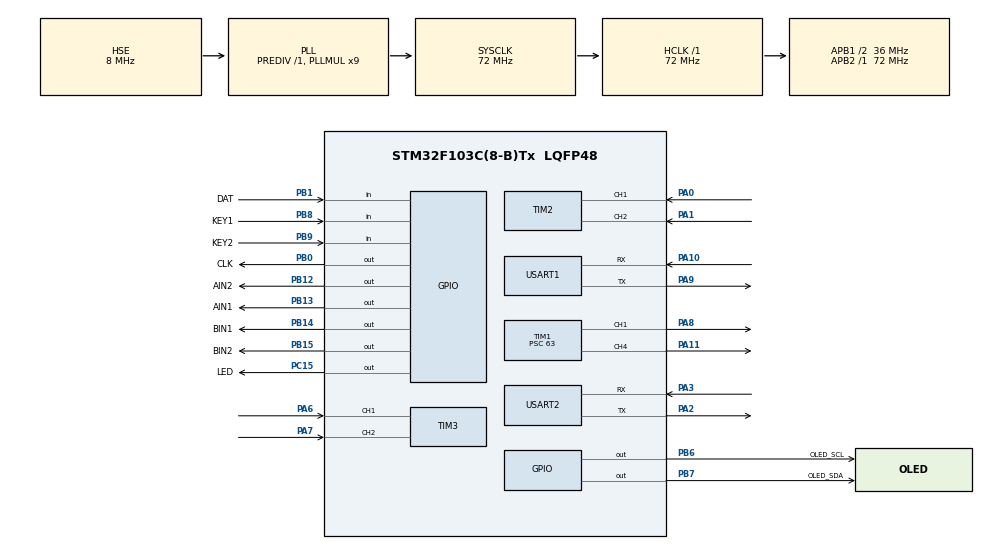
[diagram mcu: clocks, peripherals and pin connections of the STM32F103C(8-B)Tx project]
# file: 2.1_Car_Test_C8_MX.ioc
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Mcu.Family=STM32F1
Mcu.Name=STM32F103C(8-B)Tx
Mcu.Package=LQFP48
NVIC.PriorityGroup=NVIC_PRIORITYGROUP_4
NVIC.TIM4_IRQn=true\:0\:0\:false\:false\:true\:true\:true\:true
NVIC.USART2_IRQn=true\:0\:0\:false\:false\:true\:true\:true\:true
PA0-WKUP.Signal=S_TIM2_CH1_ETR
PA1.Signal=S_TIM2_CH2
PA10.Mode=Asynchronous
PA10.Signal=USART1_RX
PA11.Signal=S_TIM1_CH4
PA13.Mode=Serial_Wire
PA13.Signal=SYS_JTMS-SWDIO
PA14.Mode=Serial_Wire
PA14.Signal=SYS_JTCK-SWCLK
PA2.Mode=Asynchronous
PA2.Signal=USART2_TX
PA3.Mode=Asynchronous
PA3.Signal=USART2_RX
PA6.Signal=S_TIM3_CH1
PA7.Signal=S_TIM3_CH2
PA8.Signal=S_TIM1_CH1
PA9.Mode=Asynchronous
PA9.Signal=USART1_TX
PB0.GPIO_Label=CLK
PB0.GPIO_Speed=GPIO_SPEED_FREQ_HIGH
PB0.Signal=GPIO_Output
PB1.GPIO_Label=DAT
PB1.Signal=GPIO_Input
PB12.GPIO_Label=AIN2
PB12.Signal=GPIO_Output
PB13.GPIO_Label=AIN1
PB13.Signal=GPIO_Output
PB14.GPIO_Label=BIN1
PB14.Signal=GPIO_Output
PB15.GPIO_Label=BIN2
PB15.Signal=GPIO_Output
PB6.GPIO_Label=OLED_SCL
PB6.Signal=GPIO_Output
PB7.GPIO_Label=OLED_SDA
PB7.Signal=GPIO_Output
PB8.GPIO_Label=KEY1
PB8.GPIO_PuPd=GPIO_PULLUP
PB8.Signal=GPIO_Input
PB9.GPIO_Label=KEY2
PB9.GPIO_PuPd=GPIO_PULLUP
PB9.Signal=GPIO_Input
PC15-OSC32_OUT.GPIO_Label=LED
PC15-OSC32_OUT.Signal=GPIO_Output
PD0-OSC_IN.Mode=HSE-External-Oscillator
PD0-OSC_IN.Signal=RCC_OSC_IN
PD1-OSC_OUT.Mode=HSE-External-Oscillator
PD1-OSC_OUT.Signal=RCC_OSC_OUT
ProjectManager.HeapSize=0x200
ProjectManager.StackSize=0x400
ProjectManager.TargetToolchain=CMake
RCC.AHBFreq_Value=72000000
RCC.APB1CLKDivider=RCC_HCLK_DIV2
RCC.APB1Freq_Value=36000000
RCC.APB1TimFreq_Value=72000000
RCC.APB2Freq_Value=72000000
RCC.APB2TimFreq_Value=72000000
RCC.HCLKFreq_Value=72000000
RCC.PLLMUL=RCC_PLL_MUL9
RCC.PLLSourceVirtual=RCC_PLLSOURCE_HSE
RCC.SYSCLKFreq_VALUE=72000000
RCC.SYSCLKSource=RCC_SYSCLKSOURCE_PLLCLK
RCC.USBFreq_Value=72000000
SH.S_TIM1_CH1.0=TIM1_CH1,PWM Generation1 CH1
SH.S_TIM1_CH4.0=TIM1_CH4,PWM Generation4 CH4
SH.S_TIM2_CH1_ETR.0=TIM2_CH1,Encoder_Interface
SH.S_TIM2_CH2.0=TIM2_CH2,Encoder_Interface
SH.S_TIM3_CH1.0=TIM3_CH1,Encoder_Interface
SH.S_TIM3_CH2.0=TIM3_CH2,Encoder_Interface
TIM1.Channel-PWM\ Generation1\ CH1=TIM_CHANNEL_1
TIM1.Channel-PWM\ Generation4\ CH4=TIM_CHANNEL_4
TIM1.Period=99
TIM1.Prescaler=63
TIM2.EncoderMode=TIM_ENCODERMODE_TI12
TIM3.EncoderMode=TIM_ENCODERMODE_TI12
TIM4.Period=99
TIM4.Prescaler=6399
USART1.Parity=PARITY_NONE
USART1.VirtualMode=VM_ASYNC
USART2.VirtualMode=VM_ASYNC
VP_TIM4_VS_ClockSourceINT.Mode=Internal
board=custom

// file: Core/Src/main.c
/* USER CODE BEGIN Header */
/**
  ******************************************************************************
  * @file           : main.c
  * @brief          : Main program body
  ******************************************************************************
  * @attention
  *
  * Copyright (c) 2026 STMicroelectronics.
  * All rights reserved.
  *
  * This software is licensed under terms that can be found in the LICENSE file
  * in the root directory of this software component.
  * If no LICENSE file comes with this software, it is provided AS-IS.
  *
  ******************************************************************************
  */
/* USER CODE END Header */
#include "main.h"
#include "tim.h"
#include "usart.h"
#include "gpio.h"

/* USER CODE BEGIN Includes */
#include <stdio.h>
#include <string.h>
#include "OLED.h"
#include "motor.h"
#include "track.h"
#include "car_control.h"
#include "buzzer.h"
#include "log.h"
#include "app_log.h"
#include "app_params.h"
#include "app_console.h"
#include "config.h"   /* 所有可调参数与结构常量 */
#include "FreeRTOS.h"
#include "task.h"
/* USER CODE END Includes */

/* USER CODE BEGIN PTD */
/* TIM4 中断里填、主循环里读的一份快照（OLED 和串口遥测共用）。 */
typedef struct {
    CarStatus status;
    uint8_t gray;
    int32_t left_ticks;
    int32_t right_ticks;
    int16_t error_x10;
    uint8_t left_pwm;
    uint8_t right_pwm;
    float ramp_speed;
    float left_target;
    float right_target;
    uint32_t lost_frames;
    int16_t cross_count;         /* 压线计数：上电 -1，每次压线 +1 */
    uint16_t key2_presses;       /* KEY2 有效按下次数，用来切 mode */
} DisplaySnapshot;

/*
 * 视觉板（MaixPy）从 USART1 发来的一行，两种格式：
 *   <标签>\n                         例如：STOP
 *   <标签>,<置信度>,<x>,<y>,<w>,<h>\n 例如：NONE,0.00,0,0,0,0
 * 上电时还会先发一行 "Hello MaixPy"。
 * 置信度按 ×100 存成整数（0.95 → 95），避免在中断里碰浮点。
 */
typedef struct {
    char label[10];          /* 标签，和 OLED 上显示的一致 */
    int32_t score_x100;      /* 置信度 ×100 */
    int16_t x;
    int16_t y;
    int16_t w;
    int16_t h;
    bool valid;              /* false = 收到 NONE */
    uint32_t frames;         /* 收到并解析成功的行数 */
} VisionFrame;
/* USER CODE END PTD */

/* USER CODE BEGIN PD */

/*
 * 2.0 的整车参数（起步斜坡、循迹 PID、轮速环、前馈）都是按这两个时间尺度标定的：
 *   PWM 载波 10 kHz，控制环 100 Hz。
 * 2.1 的主频从 64 MHz（HSI/2 × 16）换成了 72 MHz（HSE × 9），而 .ioc 里的
 * 预分频还是 2.0 那组数（TIM1=63、TIM4=6399），直接跑会变成 11.25 kHz / 112.5 Hz。
 * Timers_Match20Timing() 按实际主频重算 PSC，把时间尺度拉回 2.0。
 */
#define CAR_PWM_TICK_HZ    1000000U   /* TIM1 计数时钟，ARR=99 → 10 kHz PWM */
#define CAR_CTRL_TICK_HZ     10000U   /* TIM4 计数时钟，ARR=99 → 100 Hz 控制环 */

/* USER CODE END PD */

/* USER CODE BEGIN PV */
static CarControl car;
static volatile DisplaySnapshot telemetry;
static uint8_t rx_byte;              /* USART1：视觉模块 */
static char rx_line[CAR_VISION_LINE_MAX];   /* 中断里正在收的一行 */
static uint8_t rx_line_len;
static char rx_ready[CAR_VISION_LINE_MAX];  /* 收满一行，交给主循环解析 */
static volatile bool rx_ready_flag;
static bool rx_discard;
static volatile char card_name[10];
static VisionFrame vision;           /* 解析后的视觉帧 */
static uint32_t last_telemetry_ms;
static uint32_t last_params_ms;
static CarStatus logged_status;
static bool logged_backing;          /* 倒转阶段开始/结束的日志边沿检测 */
static bool self_test_ok;
static bool s_log_enabled = true;
/* 工作模式：1..4 循环，每次按 KEY2 加 1，到 5 时回 1 */
static volatile uint8_t mode = 1;
static uint16_t last_key2_presses;
/* 目标压线次数（cross_count 达到它就停车）：mode1 固定 1，mode2 从卡片取 */
static volatile int16_t cross_target;
static volatile bool cross_target_valid;
static bool cross_done;              /* 已经因为到达目标停过车 */
static CarStatus prev_status;

/* ---- mode 3：视觉卡片识别 ------------------------------------------------
 * detect = 1 时，每收到一个非 NONE 的标签就按顺序存进 card1..card6；
 * 卡名最后一个字母（花色）是 S/C 就立刻停车、蜂鸣 1 s，2 s 后自动起步。
 */
static uint8_t detect = 1;                           /* 1 = 允许记录卡片 */
static uint8_t detect_number = 0;                    /* 已经记了几张（0..6） */
static const uint32_t wait_time = CAR_CARD_WAIT_MS;  /* 记完一张后的检测冷却 ms */
static char card1[CAR_CARD_TEXT_MAX];
static char card2[CAR_CARD_TEXT_MAX];
static char card3[CAR_CARD_TEXT_MAX];
static char card4[CAR_CARD_TEXT_MAX];
static char card5[CAR_CARD_TEXT_MAX];
static char card6[CAR_CARD_TEXT_MAX];
static char card7[CAR_CARD_TEXT_MAX];
static char card8[CAR_CARD_TEXT_MAX];
static char card9[CAR_CARD_TEXT_MAX];
static char card10[CAR_CARD_TEXT_MAX];
static char card11[CAR_CARD_TEXT_MAX];
static char card12[CAR_CARD_TEXT_MAX];
/* detect_number 从 0 开始，所以 card(detect_number + 1) == cards[detect_number] */
static char *const cards[CAR_CARD_SLOTS] = {
    card1, card2, card3, card4, card5, card6
};
/* mode 4 用 1..12 号槽，编号规则同上 */
static char *const match_cards[CAR_MATCH_SLOTS] = {
    card1, card2, card3, card4, card5, card6,
    card7, card8, card9, card10, card11, card12
};

/* ---- mode 4：视觉卡片匹配 ------------------------------------------------
 * 前 6 张（card1..card6）算出 target_card1..3（6 选 3 求和的过半组），
 * 之后每张卡和 target 比数字部分：命中就停车，并把序号最小的命中目标清零。
 */
static int16_t target_card1;
static int16_t target_card2;
static int16_t target_card3;
static bool match_restart_pending;   /* 命中后停车中，到点自动起步 */
static uint32_t match_restart_ms;
static uint8_t match_hit_index;      /* 命中的 target 序号 1..3，0 = 无 */
static bool detect_waiting;          /* detect 已清 0，等冷却结束再置 1 */
static uint32_t detect_resume_ms;
static bool card_restart_pending;    /* S/C 卡停车中，到点自动起步 */
static uint32_t card_restart_ms;
static bool buzzer_active;           /* 蜂鸣器正在响（1 s 后自己关） */
static uint32_t buzzer_off_ms;
static bool cards_view;              /* OLED 正在显示卡片网格 */
static bool cards_latched;           /* mode 3 压过线后锁住卡片页，直到切模式 */

#define APPLICATION_TASK_STACK_WORDS 768U
#define DISPLAY_TASK_STACK_WORDS     512U

static StaticTask_t application_task_tcb;
static StaticTask_t display_task_tcb;
static StackType_t application_task_stack[APPLICATION_TASK_STACK_WORDS];
static StackType_t display_task_stack[DISPLAY_TASK_STACK_WORDS];
static StaticTask_t idle_task_tcb;
static StackType_t idle_task_stack[configMINIMAL_STACK_SIZE];

/* USER CODE END PV */

void SystemClock_Config(void);
/* USER CODE BEGIN PFP */
static const char *StatusName(CarStatus status);
static const char *TrackStateName(TrackState state);
static void ShowRow(uint8_t row, char text[32]);
static void RefreshDisplay(void);
static void PrintTelemetry(void);
static void SelfTest_Run(void);
static void LogInitLine(const char *name, bool ok, const char *detail);
static void Vision_Poll(void);
static void PrintVofaFrame(void);
static int16_t CardNumber(const volatile char *name);
static void ApplyMode(uint8_t m);
static void CardMatch_Reset(void);
static void CardMatch_Poll(void);
static void Timers_Match20Timing(void);
static void ApplicationTask(void *argument);
static void DisplayTask(void *argument);
/* USER CODE END PFP */

/* USER CODE BEGIN 0 */
static const char *StatusName(CarStatus status)
{
    switch (status) {
    case CAR_READY:            return "READY";
    case CAR_RUNNING:          return "RUN";
    case CAR_NO_LINE:          return "NO LINE";
    case CAR_BAD_LINE:         return "BAD LINE";
    case CAR_LEFT_REVERSE:     return "LEFT REV";
    case CAR_RIGHT_REVERSE:    return "RIGHT REV";
    case CAR_LEFT_NO_ENCODER:  return "LEFT NO ENC";
    case CAR_RIGHT_NO_ENCODER: return "RIGHT NO ENC";
    case CAR_BENCH:            return "BENCH";
    case CAR_SEARCH:           return "SEARCH";
    default:                   return "?";
    }
}

static const char *TrackStateName(TrackState state)
{
    switch (state) {
    case TRACK_LINE:      return "LINE";
    case TRACK_LOST:      return "LOST";
    case TRACK_AMBIGUOUS: return "AMBIG";
    default:              return "?";
    }
}

static void LogInitLine(const char *name, bool ok, const char *detail)
{
    if (ok) {
        log_info("[INIT] %-26s OK   %s", name, detail ? detail : "");
    } else {
        log_error("[INIT] %-26s FAIL %s", name, detail ? detail : "");
    }
}

static void ShowRow(uint8_t row, char text[32])
{
    size_t length = 0;
    while (text[length] != '\0') {
        ++length;
    }
    while (length < 21U) {
        text[length++] = ' ';
    }
    text[21] = '\0';
    OLED_ShowString(0, row, text, OLED_6X8);
}

/*
 * 定时器重定标：按实际主频重算 TIM1（PWM）和 TIM4（控制环）的预分频，
 * 保证 2.0 标定过的参数在 72 MHz 下仍然是 10 kHz PWM / 100 Hz 控制环。
 *
 * 直接写 PSC/ARR 再触发一次 UG（更新事件），让影子寄存器立刻装载；
 * 不走 HAL_TIM_Base_Init，是为了不去碰 TIM1 已经配好的通道、BDTR 和 MOE。
 */
static void Timers_Match20Timing(void)
{
    uint32_t pwm_psc = (SystemCoreClock / CAR_PWM_TICK_HZ) - 1U;
    uint32_t ctrl_psc = (SystemCoreClock / CAR_CTRL_TICK_HZ) - 1U;
    uint32_t pwm_hz;
    uint32_t ctrl_hz;

    htim1.Init.Prescaler = pwm_psc;
    htim1.Init.Period = 99U;
    htim1.Instance->PSC = pwm_psc;
    htim1.Instance->ARR = 99U;
    htim1.Instance->EGR = TIM_EGR_UG;
    __HAL_TIM_CLEAR_FLAG(&htim1, TIM_FLAG_UPDATE);

    htim4.Init.Prescaler = ctrl_psc;
    htim4.Init.Period = 99U;
    htim4.Instance->PSC = ctrl_psc;
    htim4.Instance->ARR = 99U;
    htim4.Instance->EGR = TIM_EGR_UG;
    __HAL_TIM_CLEAR_FLAG(&htim4, TIM_FLAG_UPDATE);

    pwm_hz = (SystemCoreClock / (pwm_psc + 1U)) / 100U;
    ctrl_hz = (SystemCoreClock / (ctrl_psc + 1U)) / 100U;
    log_info("[INIT] TIM1 PWM %lu Hz (PSC=%lu), TIM4 ctrl %lu Hz (PSC=%lu)",
             (unsigned long)pwm_hz, (unsigned long)pwm_psc,
             (unsigned long)ctrl_hz, (unsigned long)ctrl_psc);
}

/* ===================== 视觉板串口接收 =====================================
 * 发送端：serial_svc.py（MaixPy）
 *   上电：   "Hello MaixPy\n"
 *   有目标： "<标签>\n"                        例：STOP
 *   无目标： "NONE,0.00,0,0,0,0\n"             标签,NONE 置信度,x,y,w,h
 *
 * 中断里只做行缓冲，解析放在主循环，避免在中断里做重活。
 * ======================================================================== */

/* 取一个整数，遇到非数字停下，指针停在分隔符上 */
static int32_t Vision_ParseInt(const char **pp)
{
    const char *p = *pp;
    int32_t sign = 1;
    int32_t value = 0;

    while (*p == ' ') {
        ++p;
    }
    if (*p == '-') {
        sign = -1;
        ++p;
    }
    while (*p >= '0' && *p <= '9') {
        value = value * 10 + (*p - '0');
        ++p;
    }
    *pp = p;
    return sign * value;
}

/* 取一个 "0.95" 这样的小数，返回 ×100 的整数（0.95 → 95），不用浮点 */
static int32_t Vision_ParseHundredths(const char **pp)
{
    const char *p = *pp;
    int32_t sign = 1;
    int32_t value = 0;
    int32_t fraction = 0;
    unsigned digits = 0;

    while (*p == ' ') {
        ++p;
    }
    if (*p == '-') {
        sign = -1;
        ++p;
    }
    while (*p >= '0' && *p <= '9') {
        value = value * 10 + (*p - '0');
        ++p;
    }
    if (*p == '.') {
        ++p;
        while (*p >= '0' && *p <= '9' && digits < 2U) {
            fraction = fraction * 10 + (*p - '0');
            ++digits;
            ++p;
        }
        while (*p >= '0' && *p <= '9') {
            ++p;
        }
    }
    while (digits < 2U) {
        fraction *= 10;
        ++digits;
    }
    *pp = p;
    return sign * (value * 100 + fraction);
}

/* 解析一整行：标签[,置信度,x,y,w,h] */
static void Vision_Parse(const char *line)
{
    char label[10];
    unsigned n = 0;
    const char *p = line;
    int32_t score = 0;
    int32_t x = 0;
    int32_t y = 0;
    int32_t w = 0;
    int32_t h = 0;
    unsigned i;

    while (*p != '\0' && *p != ',' && n < sizeof(label) - 1U) {
        label[n++] = *p++;
    }
    label[n] = '\0';

    if (*p == ',') {
        ++p;
        score = Vision_ParseHundredths(&p);
        if (*p == ',') { ++p; x = Vision_ParseInt(&p); }
        if (*p == ',') { ++p; y = Vision_ParseInt(&p); }
        if (*p == ',') { ++p; w = Vision_ParseInt(&p); }
        if (*p == ',') { ++p; h = Vision_ParseInt(&p); }
    }

    for (i = 0; i < sizeof(vision.label); ++i) {
        vision.label[i] = label[i];
    }
    vision.score_x100 = score;
    vision.x = (int16_t)x;
    vision.y = (int16_t)y;
    vision.w = (int16_t)w;
    vision.h = (int16_t)h;
    vision.valid = !(label[0] == 'N' && label[1] == 'O' &&
                     label[2] == 'N' && label[3] == 'E' && label[4] == '\0');
    ++vision.frames;

    /* OLED 上显示的就是这个标签（保持原来的行为） */
    for (i = 0; i < sizeof(card_name); ++i) {
        card_name[i] = '\0';
    }
    for (i = 0; i < n && i < sizeof(card_name) - 1U; ++i) {
        card_name[i] = label[i];
    }
}

/* 主循环调用：把中断收到的一整行解析掉，标签变化时打一条日志 */
static void Vision_Poll(void)
{
    static char last_label[10];
    static bool last_valid;
    char line[CAR_VISION_LINE_MAX];
    uint32_t primask;

    if (!rx_ready_flag) {
        return;
    }

    primask = __get_PRIMASK();
    __disable_irq();
    memcpy(line, rx_ready, sizeof line);
    rx_ready_flag = false;
    __set_PRIMASK(primask);

    Vision_Parse(line);

    if (strcmp(vision.label, last_label) != 0 || vision.valid != last_valid) {
        memcpy(last_label, vision.label, sizeof last_label);
        last_valid = vision.valid;
        if (vision.valid) {
            log_info("[VIS] %s score=%ld.%02ld box=%d,%d,%d,%d",
                     vision.label,
                     (long)(vision.score_x100 / 100),
                     (long)(vision.score_x100 % 100),
                     (int)vision.x, (int)vision.y,
                     (int)vision.w, (int)vision.h);
        } else {
            log_info("[VIS] NONE");
        }
    }
}

/* 从视觉标签里取数字：10C → 10，2C → 2，AC → 1，JC → 11，QC → 12，KC → 13。
   取不到（None、空串、未知标签）返回 0。 */
static int16_t CardNumber(const volatile char *name)
{
    int16_t value = 0;
    unsigned digits = 0;
    unsigned i = 0;

    while (i < 9U && name[i] >= '0' && name[i] <= '9' && digits < 3U) {
        value = (int16_t)(value * 10 + (name[i] - '0'));
        ++i;
        ++digits;
    }
    if (digits > 0U) {
        return value;
    }

    switch (name[0]) {
    case 'A': return 1;
    case 'J': return 11;
    case 'Q': return 12;
    case 'K': return 13;
    default:  return 0;
    }
}

/* 卡名的“字母部分”：取最后一个字符并转大写，10C → 'C'，AS → 'S'。
   没有字母（纯数字、空串）返回 '\0'。 */
static char CardLetter(const char *name)
{
    size_t length = strlen(name);
    char c;

    if (length == 0U) {
        return '\0';
    }
    c = name[length - 1U];
    if (c >= 'a' && c <= 'z') {
        c = (char)(c - 'a' + 'A');
    }
    return (c >= 'A' && c <= 'Z') ? c : '\0';
}

/* 只认 S（黑桃）/ C（梅花）两种花色 */
static bool CardIsStopSuit(const char *name)
{
    char suit = CardLetter(name);
    return suit == 'S' || suit == 'C';
}

/* 进入 mode 3：清空 card1..card6，从第一张开始重新记 */
static void CardDetect_Reset(void)
{
    unsigned i;
    unsigned j;
    uint32_t irq_state = __get_PRIMASK();

    __disable_irq();
    for (i = 0; i < CAR_CARD_SLOTS; ++i) {
        for (j = 0; j < CAR_CARD_TEXT_MAX; ++j) {
            cards[i][j] = '\0';
        }
    }
    detect_number = 0;
    __set_PRIMASK(irq_state);

    log_info("[CARD] slots cleared, detect re-armed");
}

/* 离开 mode 3 / 4 / 本轮结束：取消停车等待、关蜂鸣器、恢复检测 */
static void CardDetect_Cancel(void)
{
    card_restart_pending = false;
    match_restart_pending = false;
    match_hit_index = 0;
    detect_waiting = false;
    detect = 1;
    if (buzzer_active) {
        buzzer_active = false;
        Buzzer_Off();
    }
}

/* 蜂鸣器响满 CAR_CARD_BEEP_MS 自动关（mode 3 / 4 共用） */
static void CardBeep_Poll(void)
{
    if (buzzer_active && (int32_t)(HAL_GetTick() - buzzer_off_ms) >= 0) {
        buzzer_active = false;
        Buzzer_Off();
    }
}

/*
 * mode 3 的卡片状态机（主循环里每 1 ms 跑一次，不阻塞）：
 *   1. 蜂鸣器响满 CAR_CARD_BEEP_MS 就关；
 *   2. S/C 卡停车满 CAR_CARD_STOP_MS 后自动起步，从起步时刻开始算 detect 冷却；
 *   3. 冷却结束把 detect 置 1；
 *   4. detect = 1 且车在跑时，把非 NONE 的 card_name 依次存进 card1..card6。
 */
static void CardDetect_Poll(void)
{
    char name[CAR_CARD_TEXT_MAX];
    uint32_t now = HAL_GetTick();
    uint32_t irq_state;
    unsigned i;

    CardBeep_Poll();

    if (card_restart_pending && (int32_t)(now - card_restart_ms) >= 0) {
        card_restart_pending = false;
        irq_state = __get_PRIMASK();
        __disable_irq();
        CarControl_Resume(&car);
        __set_PRIMASK(irq_state);
        detect = 0;
        detect_waiting = true;
        detect_resume_ms = now + wait_time;
        log_info("[CARD] restart, detect off for %lu ms", (unsigned long)wait_time);
    }

    if (detect_number >= CAR_CARD_SLOTS) {
        detect = 0;
        detect_waiting = false;
    } else if (detect_waiting && (int32_t)(now - detect_resume_ms) >= 0) {
        detect_waiting = false;
        detect = 1;
    }

    if (!detect || card_restart_pending) {
        return;
    }
    /* 车没在跑就不记：停车时视觉还对着同一张卡，会重复记 */
    if (telemetry.status != CAR_RUNNING && telemetry.status != CAR_SEARCH) {
        return;
    }

    irq_state = __get_PRIMASK();
    __disable_irq();
    for (i = 0; i < CAR_CARD_TEXT_MAX; ++i) {
        name[i] = card_name[i];
    }
    __set_PRIMASK(irq_state);

    if (strcmp(name, "NONE") == 0 || detect_number >= CAR_CARD_SLOTS) {
        return;
    }

    irq_state = __get_PRIMASK();
    __disable_irq();
    for (i = 0; i < CAR_CARD_TEXT_MAX; ++i) {
        cards[detect_number][i] = name[i];
    }
    ++detect_number;
    if (detect_number >= CAR_CARD_SLOTS) {
        detect = 0;
    }
    __set_PRIMASK(irq_state);

    log_info("[CARD] #%u %s letter=%c", (unsigned)detect_number, name,
             CardLetter(name) ? CardLetter(name) : '-');

    if (CardIsStopSuit(name)) {
        irq_state = __get_PRIMASK();
        __disable_irq();
        CarControl_StopNow(&car);
        __set_PRIMASK(irq_state);

        Buzzer_Set(true);
        buzzer_active = true;
        buzzer_off_ms = now + CAR_CARD_BEEP_MS;
        card_restart_pending = true;
        card_restart_ms = now + CAR_CARD_STOP_MS;
        detect = 0;                    /* 停车期间不再记录 */
        detect_waiting = false;
        log_info("[CARD] %s -> stop, beep %u ms, restart in %u ms", name,
                 (unsigned)CAR_CARD_BEEP_MS, (unsigned)CAR_CARD_STOP_MS);
    } else {
        detect = 0;
        detect_waiting = true;
        detect_resume_ms = now + wait_time;
        log_info("[CARD] %s -> detect off for %lu ms", name,
                 (unsigned long)wait_time);
    }
}

/* 返回命中的 target 序号（1..3），没命中返回 0；已经用掉（=0）的目标不参与匹配 */
static uint8_t MatchTargetFind(int16_t number)
{
    if (number <= 0) {
        return 0U;
    }
    if (target_card1 != 0 && number == target_card1) {
        return 1U;
    }
    if (target_card2 != 0 && number == target_card2) {
        return 2U;
    }
    if (target_card3 != 0 && number == target_card3) {
        return 3U;
    }
    return 0U;
}

static void MatchTargetClear(uint8_t index)
{
    switch (index) {
    case 1U: target_card1 = 0; break;
    case 2U: target_card2 = 0; break;
    case 3U: target_card3 = 0; break;
    default: break;
    }
}

/*
 * card1..card6 记满 6 张后算目标：
 *   s = card1..6 的数字部分之和；
 *   6 选 3 共 20 组求和，从低到高排序；
 *   取第一个 > s/2 的组（整数比较用 2*result > s），把它的 3 张卡的数字部分
 *   分别存进 target_card1、target_card2、target_card3。
 */
static void CardMatch_ComputeTargets(void)
{
    static const uint8_t pick[CAR_MATCH_COMBOS][CAR_MATCH_PICK] = {
        {0U, 1U, 2U}, {0U, 1U, 3U}, {0U, 1U, 4U}, {0U, 1U, 5U},
        {0U, 2U, 3U}, {0U, 2U, 4U}, {0U, 2U, 5U},
        {0U, 3U, 4U}, {0U, 3U, 5U}, {0U, 4U, 5U},
        {1U, 2U, 3U}, {1U, 2U, 4U}, {1U, 2U, 5U},
        {1U, 3U, 4U}, {1U, 3U, 5U}, {1U, 4U, 5U},
        {2U, 3U, 4U}, {2U, 3U, 5U}, {2U, 4U, 5U},
        {3U, 4U, 5U}
    };
    int16_t numbers[CAR_CARD_SLOTS];
    int16_t result[CAR_MATCH_COMBOS];   /* 20 组和，排序后从低到高 */
    uint8_t order[CAR_MATCH_COMBOS];    /* 每组和对应 pick[] 的下标 */
    int16_t s = 0;
    int32_t sum;
    unsigned i;
    unsigned j;

    for (i = 0; i < CAR_CARD_SLOTS; ++i) {
        numbers[i] = CardNumber(cards[i]);
        s = (int16_t)(s + numbers[i]);
    }

    for (i = 0; i < CAR_MATCH_COMBOS; ++i) {
        sum = 0;
        for (j = 0; j < CAR_MATCH_PICK; ++j) {
            sum += numbers[pick[i][j]];
        }
        result[i] = (int16_t)sum;
        order[i] = (uint8_t)i;
    }

    /* 插入排序：20 个元素，比 qsort 省栈 */
    for (i = 1; i < CAR_MATCH_COMBOS; ++i) {
        int16_t key = result[i];
        uint8_t key_order = order[i];

        j = i;
        while (j > 0U && result[j - 1U] > key) {
            result[j] = result[j - 1U];
            order[j] = order[j - 1U];
            --j;
        }
        result[j] = key;
        order[j] = key_order;
    }

    target_card1 = 0;
    target_card2 = 0;
    target_card3 = 0;
    for (i = 0; i < CAR_MATCH_COMBOS; ++i) {
        if ((int32_t)result[i] * 2 > (int32_t)s) {
            target_card1 = numbers[pick[order[i]][0]];
            target_card2 = numbers[pick[order[i]][1]];
            target_card3 = numbers[pick[order[i]][2]];
            log_info("[CARD4] s=%d result[%u]=%d -> targets %d/%d/%d",
                     (int)s, i, (int)result[i],
                     (int)target_card1, (int)target_card2, (int)target_card3);
            return;
        }
    }
    log_warn("[CARD4] no combo > s/2 (s=%d), targets stay 0", (int)s);
}

/* 进入 mode 4：清空 card1..card12 和 target_card1..3，从第一张重新记 */
static void CardMatch_Reset(void)
{
    unsigned i;
    unsigned j;
    uint32_t irq_state = __get_PRIMASK();

    __disable_irq();
    for (i = 0; i < CAR_MATCH_SLOTS; ++i) {
        for (j = 0; j < CAR_CARD_TEXT_MAX; ++j) {
            match_cards[i][j] = '\0';
        }
    }
    detect_number = 0;
    target_card1 = 0;
    target_card2 = 0;
    target_card3 = 0;
    match_restart_pending = false;
    match_hit_index = 0;
    __set_PRIMASK(irq_state);

    log_info("[CARD4] card1..card%u cleared, targets reset",
             (unsigned)CAR_MATCH_SLOTS);
}

/*
 * mode 4 的卡片状态机（主循环里每 1 ms 跑一次，不阻塞）：
 *   1. 命中后停车满 CAR_MATCH_STOP_MS 自动起步，清零命中的目标并冷却 detect；
 *   2. 冷却结束把 detect 置 1；
 *   3. detect = 1 且车在跑时，把非 NONE 的 card_name 依次存进 card1..card12；
 *   4. 记满 card1..card6 时算出 target_card1..3；
 *   5. 之后每张卡和 target 比数字部分：命中就立刻停车（不倒转）+ 蜂鸣 1 s +
 *      2 s 后起步，没命中就关 detect，等 wait_time 后再开；
 *   6. detect_number >= 12 后检测结束，不再记录/比对，正常行驶到
 *      cross_count == cross_target 再停车。
 */
static void CardMatch_Poll(void)
{
    char name[CAR_CARD_TEXT_MAX];
    int16_t number;
    uint8_t hit;
    bool compare_card;
    uint32_t now = HAL_GetTick();
    uint32_t irq_state;
    unsigned i;

    CardBeep_Poll();

    if (match_restart_pending && (int32_t)(now - match_restart_ms) >= 0) {
        match_restart_pending = false;
        MatchTargetClear(match_hit_index);
        match_hit_index = 0;
        irq_state = __get_PRIMASK();
        __disable_irq();
        CarControl_Resume(&car);
        __set_PRIMASK(irq_state);
        detect = 0;
        if (detect_number >= CAR_MATCH_SLOTS) {
            detect_waiting = false;     /* 12 张已记满，起步后不再检测 */
        } else {
            detect_waiting = true;
            detect_resume_ms = now + wait_time;
            log_info("[CARD4] restart, detect off for %lu ms",
                     (unsigned long)wait_time);
        }
    }

    /* 12 张记满：检测阶段结束，之后只正常行驶，等 cross_count 到 cross_target */
    if (detect_number >= CAR_MATCH_SLOTS) {
        detect = 0;
        detect_waiting = false;
    } else if (detect_waiting && (int32_t)(now - detect_resume_ms) >= 0) {
        detect_waiting = false;
        detect = 1;
    }

    if (!detect || match_restart_pending) {
        return;
    }
    /* 车没在跑就不记：停车时视觉还对着同一张卡，会重复记 */
    if (telemetry.status != CAR_RUNNING && telemetry.status != CAR_SEARCH) {
        return;
    }

    irq_state = __get_PRIMASK();
    __disable_irq();
    for (i = 0; i < CAR_CARD_TEXT_MAX; ++i) {
        name[i] = card_name[i];
    }
    __set_PRIMASK(irq_state);

    if (strcmp(name, "NONE") == 0 || detect_number >= CAR_MATCH_SLOTS) {
        return;
    }

    irq_state = __get_PRIMASK();
    __disable_irq();
    for (i = 0; i < CAR_CARD_TEXT_MAX; ++i) {
        match_cards[detect_number][i] = name[i];   /* card(detect_number + 1) */
    }
    number = CardNumber(match_cards[detect_number]);
    ++detect_number;
    if (detect_number >= CAR_MATCH_SLOTS) {
        detect = 0;
        detect_waiting = false;
    }
    __set_PRIMASK(irq_state);

    log_info("[CARD4] #%u %s n=%d", (unsigned)detect_number, name, (int)number);
    if (detect_number >= CAR_MATCH_SLOTS) {
        log_info("[CARD4] %u cards recorded, detection finished, run to cross_target",
                 (unsigned)detect_number);
    }

    /* 算目标用的就是刚记满的这 6 张，所以第 6 张本身不参与比对 */
    compare_card = (detect_number != CAR_CARD_SLOTS);
    if (detect_number == CAR_CARD_SLOTS) {
        CardMatch_ComputeTargets();
    }

    hit = compare_card ? MatchTargetFind(number) : 0U;
    if (hit != 0U) {
        irq_state = __get_PRIMASK();
        __disable_irq();
        CarControl_StopNow(&car);      /* 立刻停车，不倒转 */
        __set_PRIMASK(irq_state);

        Buzzer_Set(true);
        buzzer_active = true;
        buzzer_off_ms = now + CAR_CARD_BEEP_MS;
        match_hit_index = hit;
        match_restart_pending = true;
        match_restart_ms = now + CAR_MATCH_STOP_MS;
        detect = 0;
        detect_waiting = false;
        log_info("[CARD4] %s hits target_card%u, stop %u ms, beep %u ms",
                 name, (unsigned)hit, (unsigned)CAR_MATCH_STOP_MS,
                 (unsigned)CAR_CARD_BEEP_MS);
    } else {
        detect = 0;
        detect_waiting = true;
        detect_resume_ms = now + wait_time;
        log_info("[CARD4] %s -> detect off for %lu ms", name,
                 (unsigned long)wait_time);
    }
}

/* 切换 mode 时设定：目标压线次数 + 启动延时 */
static void ApplyMode(uint8_t m)
{
    uint32_t start_delay_ms = (m == 2U) ? 1000U : 0U;
    uint32_t irq_state = __get_PRIMASK();

    __disable_irq();
    car.start_pending = false;
    car.start_delay_ms = start_delay_ms;
    cross_done = false;
    cards_latched = false;            /* 换模式后重新判定要不要显示卡片页 */

    if (m == 2U) {
        cross_target = 0;             /* mode2：等 KEY1 之后从卡片取 */
        cross_target_valid = false;
    } else if (m == 4U) {
        cross_target = CAR_MATCH_LAP_TARGET;   /* mode4：跑 2 圈后停车 */
        cross_target_valid = true;
    } else {
        cross_target = 1;             /* mode1 / 3：固定 1 次 */
        cross_target_valid = true;
    }
    __set_PRIMASK(irq_state);

    /* mode 3 / 4 进来先清空卡片；其它模式把停车/鸣叫/等待全部取消 */
    CardDetect_Cancel();
    if (m == 3U) {
        CardDetect_Reset();
    } else if (m == 4U) {
        CardMatch_Reset();
    }

    log_info("[MODE] %u  target=%d valid=%d delay=%u ms",
             (unsigned)m, (int)cross_target, (int)cross_target_valid,
             (unsigned)start_delay_ms);
}

/* 卡片网格里的一格：空槽显示 "-"，右列按屏幕右边对齐 */
static void ShowCardCell(uint8_t x, uint8_t y, const char *text, bool right_align)
{
    char buffer[CAR_CARD_TEXT_MAX];
    size_t length = 0;

    if (text[0] == '\0') {
        buffer[length++] = '-';
        buffer[length] = '\0';
    } else {
        while (text[length] != '\0' && length < sizeof(buffer) - 1U) {
            buffer[length] = text[length];
            ++length;
        }
        buffer[length] = '\0';
    }

    if (right_align) {
        x = (uint8_t)(128U - 6U * (unsigned)length);
    }
    OLED_ShowString(x, y, buffer, OLED_6X8);
}

/* card1..card6 两列显示：右列从上到下 1/2/3，左列从上到下 6/5/4 */
static void ShowCardGrid(char grid[CAR_CARD_SLOTS][CAR_CARD_TEXT_MAX])
{
    static const uint8_t page[3] = {1U, 3U, 5U};
    const char *const left[3] = {grid[5], grid[4], grid[3]};
    const char *const right[3] = {grid[0], grid[1], grid[2]};
    unsigned i;

    for (i = 0; i < 3U; ++i) {
        ShowCardCell(0U, page[i], left[i], false);
        ShowCardCell(0U, page[i], right[i], true);
    }
}

static void RefreshDisplay(void)
{
    static const char *const status_text[] = {
        "READY", "RUN", "NO LINE", "BAD LINE",
        "LEFT REV", "RIGHT REV", "LEFT NO ENC", "RIGHT NO ENC", "BENCH",
        "SEARCH"
    };
    DisplaySnapshot data;
    char card[10];
    char grid[CAR_CARD_SLOTS][CAR_CARD_TEXT_MAX];
    char bits[9];
    char text[32];
    unsigned i;
    unsigned j;
    uint8_t display_mode;
    int16_t display_cross_target;
    bool display_cross_target_valid;
    bool show_cards;
    uint32_t irq_state = __get_PRIMASK();

    __disable_irq();
    data = telemetry;
    for (i = 0; i < sizeof(card); ++i) {
        card[i] = card_name[i];
    }
    for (i = 0; i < CAR_CARD_SLOTS; ++i) {
        for (j = 0; j < CAR_CARD_TEXT_MAX; ++j) {
            grid[i][j] = cards[i][j];
        }
    }
    display_mode = mode;
    display_cross_target = cross_target;
    display_cross_target_valid = cross_target_valid;
    __set_PRIMASK(irq_state);

    /* mode 3 只要 cross_count >= 1：整屏清空，改显示 6 张卡片，并且一直保持 */
    if (display_mode == 3U && data.cross_count >= 1) {
        cards_latched = true;
    }
    show_cards = (display_mode == 3U) && cards_latched;
    if (show_cards != cards_view) {
        OLED_Clear();
        cards_view = show_cards;
    }
    if (show_cards) {
        ShowCardGrid(grid);
        return;
    }

    for (i = 0; i < 8U; ++i) {
        bits[i] = (data.gray & (1U << i)) ? '1' : '0';
    }
    bits[8] = '\0';

    (void)snprintf(text, sizeof(text), "%s",
                   status_text[(unsigned)data.status <
                               (sizeof status_text / sizeof status_text[0])
                                   ? (unsigned)data.status
                                   : 0U]);
    ShowRow(0, text);
    /* 右上角显示 mode：6x8 字体每字符 6 px，"M:n" 占 18 px */
    (void)snprintf(text, sizeof(text), "M:%u", (unsigned)display_mode);
    OLED_ShowString(CAR_OLED_MODE_X, 0, text, OLED_6X8);
    (void)snprintf(text, sizeof(text), "G:%s E:%+d", bits, (int)data.error_x10);
    ShowRow(2, text);
    (void)snprintf(text, sizeof(text), "L:%+ld R:%+ld",
                   (long)data.left_ticks, (long)data.right_ticks);
    ShowRow(3, text);
    (void)snprintf(text, sizeof(text), "PWM L:%u R:%u",
                   (unsigned)data.left_pwm, (unsigned)data.right_pwm);
    ShowRow(4, text);
    (void)snprintf(text, sizeof(text), "Cross: %d", (int)data.cross_count);
    ShowRow(5, text);
    /* Cross 行最右侧显示目标圈数 cross_target：右对齐，6x8 字体每字符 6 px，
       屏幕宽 128 px，所以起点 = 128 - 6 * 字符数。没设目标时显示 "T:-"。 */
    if (display_cross_target_valid) {
        (void)snprintf(text, sizeof(text), "T:%d", (int)display_cross_target);
    } else {
        (void)snprintf(text, sizeof(text), "T:-");
    }
    OLED_ShowString((uint8_t)(128U - 6U * (unsigned)strlen(text)), 5, text, OLED_6X8);
    (void)snprintf(text, sizeof(text), "Card: %s", card);
    ShowRow(6, text);
}

/* 100 ms 一次的遥测：一行人读、一行 VOFA 画图 */
static void PrintTelemetry(void)
{
    DisplaySnapshot data;
    uint32_t irq_state = __get_PRIMASK();

    __disable_irq();
    data = telemetry;
    __set_PRIMASK(irq_state);

    log_info("[T] st=%-11s g=%02X e=%+.2f v=%.2f tl=%.2f tr=%.2f pwm=%u/%u tk=%ld/%ld lf=%lu cc=%d md=%u",
             StatusName(data.status), data.gray,
             (double)data.error_x10 / 10.0,
             (double)data.ramp_speed, (double)data.left_target, (double)data.right_target,
             (unsigned)data.left_pwm, (unsigned)data.right_pwm,
             (long)data.left_ticks, (long)data.right_ticks,
             (unsigned long)data.lost_frames, (int)data.cross_count, (unsigned)mode);

    /*
     * 这里原来还有一条 log_vofa(...)：它的 names 参数是 #__VA_ARGS__ 展开的整串
     * 表达式，实际打出来是 "(int)data.status, data.gray, ...: 0, 249, -2.0, ..."，
     * 又长又没法解析，100 ms 一次白占约 1.8 KB/s 带宽。
     * 真正的画图数据由 VOFA 模式（PrintVofaFrame）输出纯 CSV，所以删掉它。
     */
}

/*
 * VOFA+ 的 FireWater 帧：一行 10 个通道，逗号分隔，'\n' 结尾。
 * 通道顺序（VOFA 里按这个顺序加控件）：
 *   0 e       = 循迹偏差
 *   1 v       = 当前限速（斜坡输出）
 *   2 tl      = 左轮目标速度
 *   3 tr      = 右轮目标速度
 *   4 pl      = 左轮 PWM
 *   5 pr      = 右轮 PWM
 *   6 gray    = 灰度原始字节
 *   7 cc      = 压线计数
 *   8 st      = 状态机编号（0=READY 1=RUN ... 9=SEARCH）
 *   9 md      = 当前 mode
 */
static void PrintVofaFrame(void)
{
    DisplaySnapshot data;
    uint32_t irq_state = __get_PRIMASK();
    char buffer[CAR_VOFA_LINE_MAX];
    int length;

    __disable_irq();
    data = telemetry;
    __set_PRIMASK(irq_state);

    length = snprintf(buffer, sizeof buffer,
                      "%.2f,%.2f,%.2f,%.2f,%u,%u,%u,%d,%u,%u\n",
                      (double)data.error_x10 / 10.0,
                      (double)data.ramp_speed,
                      (double)data.left_target,
                      (double)data.right_target,
                      (unsigned)data.left_pwm,
                      (unsigned)data.right_pwm,
                      (unsigned)data.gray,
                      (int)data.cross_count,
                      (unsigned)data.status,
                      (unsigned)mode);

    if (length > 0) {
        if (length > (int)sizeof buffer - 1) {
            length = (int)sizeof buffer - 1;
        }
        AppLog_WriteRaw(buffer, (uint32_t)length);
    }
}

/*
 * 上电自检：每个模块初始化完都打一行，最后汇总。
 * 顺序和 main() 里的初始化顺序一致。
 */
static void SelfTest_Run(void)
{
    uint16_t left_before;
    uint16_t right_before;
    uint16_t left_after;
    uint16_t right_after;
    int32_t left_delta;
    int32_t right_delta;
    uint8_t gray_a;
    uint8_t gray_b;
    TrackState state;
    float error = 0.0f;
    bool key1;
    bool key2;

    log_info("======== self test begin ========");

    LogInitLine("clock 72 MHz (HSE)", SystemCoreClock == 72000000U, "system clock");

    LogInitLine("TIM1 PWM (PA8/PA11)", htim1.State == HAL_TIM_STATE_BUSY, "");
    LogInitLine("TIM2 encoder (PA0/PA1)", htim2.State == HAL_TIM_STATE_BUSY, "left wheel");
    LogInitLine("TIM3 encoder (PA6/PA7)", htim3.State == HAL_TIM_STATE_BUSY, "right wheel");
    LogInitLine("TIM4 100 Hz tick", htim4.State == HAL_TIM_STATE_BUSY, "control loop");
    LogInitLine("USART1 vision", huart1.gState != HAL_UART_STATE_RESET, "115200 8N1");
    LogInitLine("USART2 console", huart2.gState != HAL_UART_STATE_RESET, "115200 8N1");
    LogInitLine("line sensor", true, "8 channels CLK/DAT");
    LogInitLine("OLED", true, "128x64 software I2C");
    LogInitLine("params table", Params_Count() > 0, "runtime SET/GET ready");

    /* 编码器静默检查：车不动时 50 ms 内计数应该完全不变 */
    left_before = (uint16_t)__HAL_TIM_GET_COUNTER(&htim2);
    right_before = (uint16_t)__HAL_TIM_GET_COUNTER(&htim3);
    HAL_Delay(50);
    left_after = (uint16_t)__HAL_TIM_GET_COUNTER(&htim2);
    right_after = (uint16_t)__HAL_TIM_GET_COUNTER(&htim3);
    left_delta = (int16_t)(left_after - left_before);
    right_delta = (int16_t)(right_after - right_before);
    log_info("[TEST] encoder idle 50ms  L=%ld R=%ld %s",
             (long)left_delta, (long)right_delta,
             (left_delta == 0 && right_delta == 0) ? "OK" : "WARN (wheels moving?)");

    /* 灰度两帧一致性：环境光抖动大时会直接看出来 */
    gray_a = Track_Read_Serial();
    HAL_Delay(2);
    gray_b = Track_Read_Serial();
    state = Track_Decode(gray_b, &error);
    log_info("[TEST] line sensor  gray=%02X/%02X state=%-5s err=%+.2f %s",
             gray_a, gray_b, TrackStateName(state), (double)error,
             (gray_a == gray_b) ? "OK" : "WARN (unstable)");

    key1 = HAL_GPIO_ReadPin(KEY1_GPIO_Port, KEY1_Pin) == GPIO_PIN_RESET;
    key2 = HAL_GPIO_ReadPin(KEY2_GPIO_Port, KEY2_Pin) == GPIO_PIN_RESET;
    log_info("[TEST] keys  KEY1=%s KEY2=%s %s",
             key1 ? "DOWN" : "UP", key2 ? "DOWN" : "UP",
             (!key1 && !key2) ? "OK" : "NOTE (held at boot)");

    self_test_ok = (SystemCoreClock == 72000000U) &&
                   (htim1.State == HAL_TIM_STATE_BUSY) &&
                   (htim2.State == HAL_TIM_STATE_BUSY) &&
                   (htim3.State == HAL_TIM_STATE_BUSY) &&
                   (htim4.State == HAL_TIM_STATE_BUSY) &&
                   (huart2.gState != HAL_UART_STATE_RESET);

    if (self_test_ok) {
        log_info("======== self test PASS ========");
    } else {
        log_error("======== self test FAIL ========");
    }
    log_info("[SM] initial state = %s (bench=%u)", StatusName(car.status),
             (unsigned)(car.status == CAR_BENCH));
    logged_status = car.status;
}

static void ApplicationTask(void *argument)
{
    (void)argument;

    for (;;) {
        uint32_t now;
        uint32_t irq_state;
        bool backing;
        bool start_pending;
        bool log_wanted;

        Console_Poll();
        Vision_Poll();

        log_wanted = (g_params.log_enable != 0U) && !AppLog_VofaMode();
        if (log_wanted != s_log_enabled) {
            s_log_enabled = log_wanted;
            AppLog_SetEnabled(log_wanted);
        }

        now = HAL_GetTick();

        if (g_params.telemetry_ms > 0U &&
            (uint32_t)(now - last_telemetry_ms) >= g_params.telemetry_ms) {
            last_telemetry_ms = now;
            if (AppLog_VofaMode()) {
                PrintVofaFrame();
            } else {
                PrintTelemetry();
            }
        }

        if (g_params.params_ms > 0U &&
            (uint32_t)(now - last_params_ms) >= g_params.params_ms) {
            last_params_ms = now;
            Params_Dump();
        }

        if (telemetry.status != logged_status) {
            log_info("[SM] %s -> %s (lost=%lu, pwm=%u/%u)",
                     StatusName(logged_status), StatusName(telemetry.status),
                     (unsigned long)telemetry.lost_frames,
                     (unsigned)telemetry.left_pwm, (unsigned)telemetry.right_pwm);
            logged_status = telemetry.status;
        }

        /* 停车倒转阶段的开始/结束各打一条，方便确认 back_time 生效 */
        irq_state = __get_PRIMASK();
        __disable_irq();
        backing = car.backing;
        __set_PRIMASK(irq_state);
        if (backing != logged_backing) {
            logged_backing = backing;
            if (backing) {
                log_info("[BACK] reverse %u ms at pwm %u", (unsigned)CAR_BACK_MS,
                         (unsigned)CAR_BACK_PWM);
            } else {
                log_info("[BACK] done, wheels stopped");
            }
        }

        /* 每按一次 KEY2，mode 加 1；到 5 回到 1 */
        if (telemetry.key2_presses != last_key2_presses) {
            last_key2_presses = telemetry.key2_presses;
            ++mode;
            if (mode >= 5U) {
                mode = 1U;
            }
            ApplyMode(mode);
        }

        /*
         * mode 2：延时等待起步的这 1 秒里，看视觉卡片决定目标圈数。
         * 牌面是 2 时目标为 2 圈，其余情况目标为 3 圈。
         */
        irq_state = __get_PRIMASK();
        __disable_irq();
        start_pending = car.start_pending;
        __set_PRIMASK(irq_state);
        if (mode == 2U && start_pending) {
            cross_target = (CardNumber(card_name) == 2) ? 2 : 3;
            cross_target_valid = true;
        }

        /* mode 3：记卡片、S/C 停车 + 蜂鸣 + 2 s 后自动起步 */
        if (mode == 3U) {
            CardDetect_Poll();
        } else if (mode == 4U) {
            /* mode 4：记 12 张卡，前 6 张算目标，后 6 张命中就停车 */
            CardMatch_Poll();
        }

        if ((telemetry.status == CAR_RUNNING || telemetry.status == CAR_SEARCH) &&
            cross_target_valid && !cross_done &&
            telemetry.cross_count == cross_target) {
            uint32_t primask = __get_PRIMASK();
            __disable_irq();
            CarControl_Stop(&car);
            __set_PRIMASK(primask);
            cross_done = true;
            if (mode == 3U || mode == 4U) {
                CardDetect_Cancel();   /* 本轮跑完，不再自动起步 */
            }
            log_info("[TARGET] cross_count=%d reached target %d, car stopped",
                     (int)telemetry.cross_count, (int)cross_target);
        }

        if (telemetry.status == CAR_RUNNING &&
            prev_status != CAR_RUNNING && prev_status != CAR_SEARCH) {
            if (cross_done) {
                cross_done = false;
                log_info("[TARGET] new run, counter re-armed");
            }
            if (mode == 2U) {
                log_info("[M2] target = %d laps (card 2 -> 2, otherwise -> 3)",
                         (int)cross_target);
            }
        }
        prev_status = telemetry.status;

        vTaskDelay(pdMS_TO_TICKS(CAR_LOOP_DELAY_MS));
    }
}

static void DisplayTask(void *argument)
{
    TickType_t last_wake = xTaskGetTickCount();
    uint32_t last_refresh_ms = HAL_GetTick() - CAR_DISPLAY_MS;

    (void)argument;
    for (;;) {
        uint32_t now = HAL_GetTick();

        if ((uint32_t)(now - last_refresh_ms) >= CAR_DISPLAY_MS) {
            last_refresh_ms = now;
            if (!AppLog_VofaMode()) {
                RefreshDisplay();
            }
        }
        vTaskDelayUntil(&last_wake, pdMS_TO_TICKS(10U));
    }
}

void vApplicationGetIdleTaskMemory(StaticTask_t **task_tcb_buffer,
                                   StackType_t **task_stack_buffer,
                                   uint32_t *stack_size)
{
    *task_tcb_buffer = &idle_task_tcb;
    *task_stack_buffer = idle_task_stack;
    *stack_size = configMINIMAL_STACK_SIZE;
}

void vApplicationStackOverflowHook(TaskHandle_t task, char *task_name)
{
    (void)task;
    (void)task_name;
    Error_Handler();
}

/* USER CODE END 0 */

int main(void)
{

  /* MCU Configuration--------------------------------------------------------*/

  /* Reset of all peripherals, Initializes the Flash interface and the Systick. */
  HAL_Init();

  /* Configure the system clock */
  SystemClock_Config();

  /* Initialize all configured peripherals */
  MX_GPIO_Init();
  MX_TIM1_Init();
  MX_TIM2_Init();
  MX_TIM3_Init();
  MX_TIM4_Init();
  MX_USART2_UART_Init();
  MX_USART1_UART_Init();
  /* USER CODE BEGIN 2 */
  bool bench_mode;

  /*
   * USART1（视觉板）的 NVIC 中断在 2.1 的 .ioc 里没打开 —— CubeMX 的 NVIC 表
   * 只有 TIM4 和 USART2，所以 stm32f1xx_it.c 里也没有 USART1_IRQHandler。
   * 视觉数据靠 HAL_UART_Receive_IT 收，中断不开就一个字节都进不来，这里补上；
   * 对应的中断入口写在文件末尾的 USER CODE 4 里。
   */
  HAL_NVIC_SetPriority(USART1_IRQn, 0, 0);
  HAL_NVIC_EnableIRQ(USART1_IRQn);

  /* 日志先起来，后面每一步初始化都能打出来 */
  AppLog_Init();
  Params_Init();
  Console_Init();

  log_info("====================");
  log_info("STM32F103C8T6 line-following car");
  log_info("build %s %s", __DATE__, __TIME__);
  log_info("sysclk=%lu Hz, params=%d",
           (unsigned long)SystemCoreClock, Params_Count());
  log_info("====================");

  /*
   * 2.1 是 72 MHz，2.0 是 64 MHz：先把 TIM1/TIM4 的预分频按实际主频重算，
   * 否则 PWM 和控制环都快 12.5%，2.0 调好的参数全部失准。
   * 必须赶在 HAL_TIM_PWM_Start / HAL_TIM_Base_Start_IT 之前。
   * （放在 AppLog_Init 之后，这一行日志才打得出来。）
   */
  Timers_Match20Timing();

  bench_mode = HAL_GPIO_ReadPin(KEY2_GPIO_Port, KEY2_Pin) == GPIO_PIN_RESET;
  log_info("[INIT] bench mode %s (KEY2 %s at boot)", bench_mode ? "ON" : "OFF",
           bench_mode ? "held" : "released");

  Track_Init();
  log_info("[INIT] line sensor ready");
  OLED_Init();
  log_info("[INIT] OLED ready");
  Buzzer_Init();
  log_info("[INIT] buzzer ready (PC14, active low)");

  if (HAL_TIM_PWM_Start(&htim1, TIM_CHANNEL_4) != HAL_OK ||
      HAL_TIM_PWM_Start(&htim1, TIM_CHANNEL_1) != HAL_OK ||
      HAL_TIM_Encoder_Start(&htim2, TIM_CHANNEL_ALL) != HAL_OK ||
      HAL_TIM_Encoder_Start(&htim3, TIM_CHANNEL_ALL) != HAL_OK)
  {
    log_error("[INIT] TIM1/TIM2/TIM3 start FAILED");
    Error_Handler();
  }
  log_info("[INIT] PWM + encoders started");
  SetMotorSpeed(0, 0);

  CarControl_Init(&car, (uint16_t)__HAL_TIM_GET_COUNTER(&htim2),
                  (uint16_t)__HAL_TIM_GET_COUNTER(&htim3), bench_mode);
  ApplyMode(mode);              /* 上电按默认 mode（1）设好目标圈数和启动延时 */
  telemetry.status = car.status;
  (void)HAL_UART_Receive_IT(&huart1, &rx_byte, 1);

  /* The timer was updated during initialization. Wait one full period. */
  __HAL_TIM_CLEAR_FLAG(&htim4, TIM_FLAG_UPDATE);
  if (HAL_TIM_Base_Start_IT(&htim4) != HAL_OK)
  {
    log_error("[INIT] TIM4 start FAILED");
    Error_Handler();
  }
  log_info("[INIT] control loop started (100 Hz)");

  SelfTest_Run();
  Params_Dump();
  log_info("type HELP for commands, DUMP lists parameters");

  /* USER CODE END 2 */

  if (xTaskCreateStatic(ApplicationTask, "application",
                        APPLICATION_TASK_STACK_WORDS, NULL,
                        tskIDLE_PRIORITY + 2U,
                        application_task_stack, &application_task_tcb) == NULL ||
      xTaskCreateStatic(DisplayTask, "display",
                        DISPLAY_TASK_STACK_WORDS, NULL,
                        tskIDLE_PRIORITY + 1U,
                        display_task_stack, &display_task_tcb) == NULL)
  {
    log_error("[INIT] FreeRTOS task creation failed");
    Error_Handler();
  }

  log_info("[INIT] FreeRTOS scheduler starting");
  vTaskStartScheduler();
  Error_Handler();
}

void SystemClock_Config(void)
{
  RCC_OscInitTypeDef RCC_OscInitStruct = {0};
  RCC_ClkInitTypeDef RCC_ClkInitStruct = {0};

  /** Initializes the RCC Oscillators according to the specified parameters
  * in the RCC_OscInitTypeDef structure.
  */
  RCC_OscInitStruct.OscillatorType = RCC_OSCILLATORTYPE_HSE;
  RCC_OscInitStruct.HSEState = RCC_HSE_ON;
  RCC_OscInitStruct.HSEPredivValue = RCC_HSE_PREDIV_DIV1;
  RCC_OscInitStruct.HSIState = RCC_HSI_ON;
  RCC_OscInitStruct.PLL.PLLState = RCC_PLL_ON;
  RCC_OscInitStruct.PLL.PLLSource = RCC_PLLSOURCE_HSE;
  RCC_OscInitStruct.PLL.PLLMUL = RCC_PLL_MUL9;
  if (HAL_RCC_OscConfig(&RCC_OscInitStruct) != HAL_OK)
  {
    Error_Handler();
  }

  /** Initializes the CPU, AHB and APB buses clocks
  */
  RCC_ClkInitStruct.ClockType = RCC_CLOCKTYPE_HCLK|RCC_CLOCKTYPE_SYSCLK
                              |RCC_CLOCKTYPE_PCLK1|RCC_CLOCKTYPE_PCLK2;
  RCC_ClkInitStruct.SYSCLKSource = RCC_SYSCLKSOURCE_PLLCLK;
  RCC_ClkInitStruct.AHBCLKDivider = RCC_SYSCLK_DIV1;
  RCC_ClkInitStruct.APB1CLKDivider = RCC_HCLK_DIV2;
  RCC_ClkInitStruct.APB2CLKDivider = RCC_HCLK_DIV1;

  if (HAL_RCC_ClockConfig(&RCC_ClkInitStruct, FLASH_LATENCY_2) != HAL_OK)
  {
    Error_Handler();
  }
}

/* USER CODE BEGIN 4 */
/*
 * 视觉板串口的中断入口。
 * 2.1 的 .ioc 没有给 USART1 开 NVIC，CubeMX 因此没在 stm32f1xx_it.c 里生成它，
 * 而 HAL_UART_Receive_IT 必须有这个入口才能收数据，所以手写一个。
 * 以后若在 CubeMX 里把 USART1 的 NVIC 打开，请删掉这一段，否则链接时重定义。
 */
void USART1_IRQHandler(void)
{
    HAL_UART_IRQHandler(&huart1);
}

/* USART1：视觉板一行一行发，这里只做行缓冲，解析交给主循环的 Vision_Poll() */
void HAL_UART_RxCpltCallback(UART_HandleTypeDef *huart)
{
    if (huart->Instance == USART2) {
        Console_HandleIrq();
        return;
    }

    if (huart->Instance != USART1) {
        return;
    }
    if (huart->ErrorCode != HAL_UART_ERROR_NONE) {
        rx_discard = true;
        return;  /* The HAL error callback rearms after handling the error. */
    }

    if (rx_byte == '\n') {
        if (!rx_discard && rx_line_len > 0U && !rx_ready_flag) {
            memcpy(rx_ready, rx_line, rx_line_len);
            rx_ready[rx_line_len] = '\0';
            rx_ready_flag = true;
        }
        rx_line_len = 0;
        rx_discard = false;
    } else if (rx_byte != '\r' && rx_line_len < sizeof(rx_line) - 1U) {
        /* The OLED font handles printable ASCII only. */
        rx_line[rx_line_len++] = (rx_byte >= 32U && rx_byte <= 126U) ? (char)rx_byte : '?';
    }

    (void)HAL_UART_Receive_IT(huart, &rx_byte, 1);
}

void HAL_UART_ErrorCallback(UART_HandleTypeDef *huart)
{
    if (huart->Instance == USART1) {
        rx_discard = true;
        (void)HAL_UART_Receive_IT(huart, &rx_byte, 1);
    } else if (huart->Instance == USART2) {
        Console_Rearm();
    }
}

void HAL_TIM_PeriodElapsedCallback(TIM_HandleTypeDef *htim)
{
    uint16_t left_count;
    uint16_t right_count;
    uint8_t gray;
    bool key1_pressed;
    bool key2_pressed;

    if (htim->Instance != TIM4) {
        return;
    }

    left_count = (uint16_t)__HAL_TIM_GET_COUNTER(&htim2);
    right_count = (uint16_t)__HAL_TIM_GET_COUNTER(&htim3);
    key1_pressed = HAL_GPIO_ReadPin(KEY1_GPIO_Port, KEY1_Pin) == GPIO_PIN_RESET;
    key2_pressed = HAL_GPIO_ReadPin(KEY2_GPIO_Port, KEY2_Pin) == GPIO_PIN_RESET;
    gray = Track_Read_Serial();

    CarControl_Step(&car, gray, left_count, right_count, key1_pressed, key2_pressed);

    /* 停车后的倒转阶段：两轮给负 PWM（后退），时间到由控制层清掉 backing */
    if (car.backing) {
        SetMotorSpeed(-(int16_t)CAR_BACK_PWM, -(int16_t)CAR_BACK_PWM);
    } else {
        SetMotorSpeed(car.left_pwm, car.right_pwm);
    }

    telemetry.status = car.status;
    telemetry.gray = car.gray;
    telemetry.left_ticks = car.left_ticks;
    telemetry.right_ticks = car.right_ticks;
    telemetry.error_x10 = (int16_t)(car.line_error * 10.0f);
    telemetry.left_pwm = car.left_pwm;
    telemetry.right_pwm = car.right_pwm;
    telemetry.ramp_speed = car.ramp_speed;
    telemetry.left_target = car.left_target;
    telemetry.right_target = car.right_target;
    telemetry.lost_frames = car.lost_frames;
    telemetry.cross_count = car.cross_count;
    telemetry.key2_presses = car.key2_presses;
}
/* USER CODE END 4 */

void Error_Handler(void)
{
  /* USER CODE BEGIN Error_Handler_Debug */
  __disable_irq();
  if (htim1.Instance == TIM1)
  {
    __HAL_TIM_MOE_DISABLE_UNCONDITIONALLY(&htim1);
  }
  while (1)
  {
  }
  /* USER CODE END Error_Handler_Debug */
}
